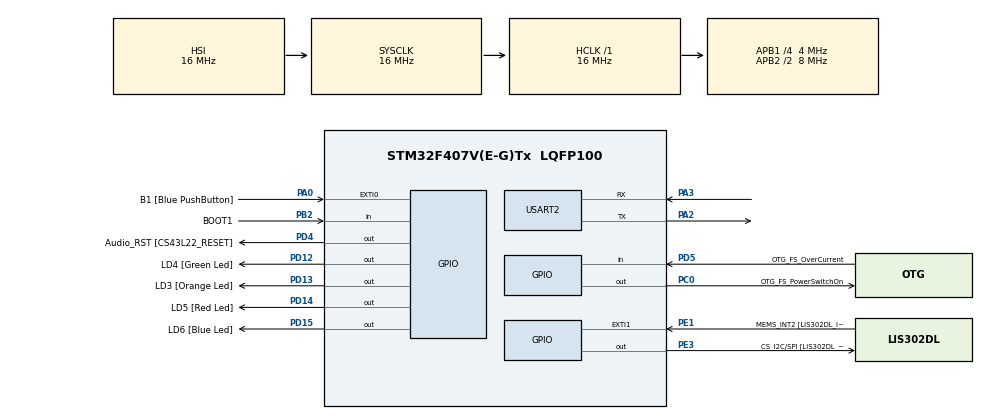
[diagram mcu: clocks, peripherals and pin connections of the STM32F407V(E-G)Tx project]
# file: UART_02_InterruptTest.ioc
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Mcu.Family=STM32F4
Mcu.Name=STM32F407V(E-G)Tx
Mcu.Package=LQFP100
NVIC.PriorityGroup=NVIC_PRIORITYGROUP_0
NVIC.USART2_IRQn=true\:0\:0\:false\:false\:true\:true\:true\:true
PA0-WKUP.GPIO_Label=B1 [Blue PushButton]
PA0-WKUP.Signal=GPXTI0
PA10.GPIO_Label=OTG_FS_ID
PA10.GPIO_Mode=GPIO_MODE_AF_PP
PA10.GPIO_PuPd=GPIO_NOPULL
PA10.GPIO_Speed=GPIO_SPEED_FREQ_LOW
PA10.Signal=USB_OTG_FS_ID
PA11.GPIO_Label=OTG_FS_DM
PA11.GPIO_Mode=GPIO_MODE_AF_PP
PA11.GPIO_PuPd=GPIO_NOPULL
PA11.GPIO_Speed=GPIO_SPEED_FREQ_LOW
PA11.Signal=USB_OTG_FS_DM
PA12.GPIO_Label=OTG_FS_DP
PA12.GPIO_Mode=GPIO_MODE_AF_PP
PA12.GPIO_PuPd=GPIO_NOPULL
PA12.GPIO_Speed=GPIO_SPEED_FREQ_LOW
PA12.Signal=USB_OTG_FS_DP
PA13.GPIO_Label=SWDIO
PA13.Signal=SYS_JTMS-SWDIO
PA14.GPIO_Label=SWCLK
PA14.Signal=SYS_JTCK-SWCLK
PA2.Mode=Asynchronous
PA2.Signal=USART2_TX
PA3.GPIO_PuPd=GPIO_PULLUP
PA3.Mode=Asynchronous
PA3.Signal=USART2_RX
PA4.GPIO_Label=I2S3_WS [CS43L22_LRCK]
PA4.GPIO_Mode=GPIO_MODE_AF_PP
PA4.GPIO_PuPd=GPIO_NOPULL
PA4.GPIO_Speed=GPIO_SPEED_FREQ_LOW
PA4.Signal=I2S3_WS
PA5.GPIO_Label=SPI1_SCK [LIS302DL_SCL/SPC]
PA5.GPIO_Mode=GPIO_MODE_AF_PP
PA5.GPIO_PuPd=GPIO_NOPULL
PA5.GPIO_Speed=GPIO_SPEED_FREQ_LOW
PA5.Signal=SPI1_SCK
PA6.GPIO_Label=SPI1_MISO [LIS302DL_SDO]
PA6.GPIO_Mode=GPIO_MODE_AF_PP
PA6.GPIO_PuPd=GPIO_NOPULL
PA6.GPIO_Speed=GPIO_SPEED_FREQ_LOW
PA6.Signal=SPI1_MISO
PA7.GPIO_Label=SPI1_MOSI [LIS302DL_SDA/SDI/SDO]
PA7.GPIO_Mode=GPIO_MODE_AF_PP
PA7.GPIO_PuPd=GPIO_NOPULL
PA7.GPIO_Speed=GPIO_SPEED_FREQ_LOW
PA7.Signal=SPI1_MOSI
PA9.GPIO_Label=VBUS_FS
PA9.GPIO_Mode=GPIO_MODE_INPUT
PA9.GPIO_PuPd=GPIO_NOPULL
PA9.Signal=USB_OTG_FS_VBUS
PB10.GPIO_Label=CLK_IN [MP45DT02_CLK]
PB10.GPIO_Mode=GPIO_MODE_AF_PP
PB10.GPIO_PuPd=GPIO_NOPULL
PB10.GPIO_Speed=GPIO_SPEED_FREQ_LOW
PB10.Signal=I2S2_CK
PB2.GPIO_Label=BOOT1
PB2.GPIO_Mode=GPIO_MODE_INPUT
PB2.GPIO_PuPd=GPIO_NOPULL
PB2.Signal=GPIO_Input
PB3.GPIO_Label=SWO
PB3.Signal=SYS_JTDO-SWO
PB6.GPIO_Label=Audio_SCL [CS43L22_SCL]
PB6.GPIO_Mode=GPIO_MODE_AF_OD
PB6.GPIO_PuPd=GPIO_NOPULL
PB6.GPIO_Speed=GPIO_SPEED_FREQ_LOW
PB6.Signal=I2C1_SCL
PB9.GPIO_Label=Audio_SDA [CS43L22_SDA]
PB9.GPIO_Mode=GPIO_MODE_AF_OD
PB9.GPIO_PuPd=GPIO_NOPULL
PB9.GPIO_Speed=GPIO_SPEED_FREQ_LOW
PB9.Signal=I2C1_SDA
PC0.GPIO_Label=OTG_FS_PowerSwitchOn
PC0.GPIO_PuPd=GPIO_NOPULL
PC0.GPIO_Speed=GPIO_SPEED_FREQ_LOW
PC0.PinState=GPIO_PIN_SET
PC0.Signal=GPIO_Output
PC10.GPIO_Label=I2S3_SCK [CS43L22_SCLK]
PC10.GPIO_Mode=GPIO_MODE_AF_PP
PC10.GPIO_PuPd=GPIO_NOPULL
PC10.GPIO_Speed=GPIO_SPEED_FREQ_LOW
PC10.Signal=I2S3_CK
PC12.GPIO_Label=I2S3_SD [CS43L22_SDIN]
PC12.GPIO_Mode=GPIO_MODE_AF_PP
PC12.GPIO_PuPd=GPIO_NOPULL
PC12.GPIO_Speed=GPIO_SPEED_FREQ_LOW
PC12.Signal=I2S3_SD
PC14-OSC32_IN.GPIO_Label=PC14-OSC32_IN
PC14-OSC32_IN.Signal=RCC_OSC32_IN
PC15-OSC32_OUT.GPIO_Label=PC15-OSC32_OUT
PC15-OSC32_OUT.Signal=RCC_OSC32_OUT
PC3.GPIO_Label=PDM_OUT [MP45DT02_DOUT]
PC3.GPIO_Mode=GPIO_MODE_AF_PP
PC3.GPIO_PuPd=GPIO_NOPULL
PC3.GPIO_Speed=GPIO_SPEED_FREQ_LOW
PC3.Signal=I2S2_SD
PC7.GPIO_Label=I2S3_MCK [CS43L22_MCLK]
PC7.GPIO_Mode=GPIO_MODE_AF_PP
PC7.GPIO_PuPd=GPIO_NOPULL
PC7.GPIO_Speed=GPIO_SPEED_FREQ_LOW
PC7.Signal=I2S3_MCK
PD12.GPIO_Label=LD4 [Green Led]
PD12.GPIO_PuPd=GPIO_NOPULL
PD12.GPIO_Speed=GPIO_SPEED_FREQ_LOW
PD12.Signal=GPIO_Output
PD13.GPIO_Label=LD3 [Orange Led]
PD13.GPIO_PuPd=GPIO_NOPULL
PD13.GPIO_Speed=GPIO_SPEED_FREQ_LOW
PD13.Signal=GPIO_Output
PD14.GPIO_Label=LD5 [Red Led]
PD14.GPIO_PuPd=GPIO_NOPULL
PD14.GPIO_Speed=GPIO_SPEED_FREQ_LOW
PD14.Signal=GPIO_Output
PD15.GPIO_Label=LD6 [Blue Led]
PD15.GPIO_PuPd=GPIO_NOPULL
PD15.GPIO_Speed=GPIO_SPEED_FREQ_LOW
PD15.Signal=GPIO_Output
PD4.GPIO_Label=Audio_RST [CS43L22_RESET]
PD4.GPIO_PuPd=GPIO_NOPULL
PD4.GPIO_Speed=GPIO_SPEED_FREQ_LOW
PD4.Signal=GPIO_Output
PD5.GPIO_Label=OTG_FS_OverCurrent
PD5.GPIO_Mode=GPIO_MODE_INPUT
PD5.GPIO_PuPd=GPIO_NOPULL
PD5.Signal=GPIO_Input
PE1.GPIO_Label=MEMS_INT2 [LIS302DL_INT2]
PE1.GPIO_ModeDefaultEXTI=GPIO_MODE_EVT_RISING
PE1.GPIO_PuPd=GPIO_NOPULL
PE1.Signal=GPXTI1
PE3.GPIO_Label=CS_I2C/SPI [LIS302DL_CS_I2C/SPI]
PE3.GPIO_PuPd=GPIO_NOPULL
PE3.GPIO_Speed=GPIO_SPEED_FREQ_LOW
PE3.Signal=GPIO_Output
PH0-OSC_IN.GPIO_Label=PH0-OSC_IN
PH0-OSC_IN.Signal=RCC_OSC_IN
PH1-OSC_OUT.GPIO_Label=PH1-OSC_OUT
PH1-OSC_OUT.Signal=RCC_OSC_OUT
ProjectManager.HeapSize=0x200
ProjectManager.StackSize=0x400
ProjectManager.TargetToolchain=STM32CubeIDE
RCC.48MHZClocksFreq_Value=14285714.285714285
RCC.AHBFreq_Value=16000000
RCC.APB1CLKDivider=RCC_HCLK_DIV4
RCC.APB1Freq_Value=4000000
RCC.APB1TimFreq_Value=8000000
RCC.APB2CLKDivider=RCC_HCLK_DIV2
RCC.APB2Freq_Value=8000000
RCC.APB2TimFreq_Value=16000000
RCC.CortexFreq_Value=16000000
RCC.HCLKFreq_Value=16000000
RCC.HSE_VALUE=8000000
RCC.HSI_VALUE=16000000
RCC.LSE_VALUE=32768
RCC.PLLM=8
RCC.PLLN=50
RCC.PLLP=RCC_PLLP_DIV4
RCC.PLLQ=7
RCC.SYSCLKFreq_VALUE=16000000
RCC.VCOOutputFreq_Value=100000000
USART2.VirtualMode=VM_ASYNC
board=STM32F407G-DISC1

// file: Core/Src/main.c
/* USER CODE BEGIN Header */
/**
  ******************************************************************************
  * @file           : main.c
  * @brief          : Main program body
  ******************************************************************************
  * @attention
  *
  * Copyright (c) 2026 STMicroelectronics.
  * All rights reserved.
  *
  * This software is licensed under terms that can be found in the LICENSE file
  * in the root directory of this software component.
  * If no LICENSE file comes with this software, it is provided AS-IS.
  *
  ******************************************************************************
  */
/* USER CODE END Header */
#include "main.h"

/* USER CODE BEGIN Includes */
#include <stdio.h>
#include <string.h>
//PA2 is USART2TX and PA3 is USART2RX
/* USER CODE END Includes */

/* USER CODE BEGIN PD */
#define FIRST_RCV_MSGLEN	21
#define SCND_RCV_MSGLEN		17
/* USER CODE END PD */

UART_HandleTypeDef huart2;

/* USER CODE BEGIN PV */
uint8_t RcvComplete = RESET;
uint8_t TxComplete = RESET;

uint8_t RcvBuf[50];
uint8_t RcvBuf2[50];

uint8_t sendmsg1[] = "Hello old man Tayyar";
uint8_t sendmsg2[] = "Bist du fertig?";
/* USER CODE END PV */

void SystemClock_Config(void);
static void MX_GPIO_Init(void);
static void MX_USART2_UART_Init(void);

int main(void)
{

  /* MCU Configuration--------------------------------------------------------*/

  /* Reset of all peripherals, Initializes the Flash interface and the Systick. */
  HAL_Init();

  /* Configure the system clock */
  SystemClock_Config();

  /* Initialize all configured peripherals */
  MX_GPIO_Init();
  MX_USART2_UART_Init();

  /* Infinite loop */
  /* USER CODE BEGIN WHILE */
  while (1)
  {
	  UART_Start_Receive_IT(&huart2, RcvBuf, FIRST_RCV_MSGLEN);
	  while(!RcvComplete);
	  RcvBuf[FIRST_RCV_MSGLEN] = '\0';
	  printf("First Message Received : %s \n",RcvBuf);
	  RcvComplete = RESET;

	  HAL_UART_Transmit_IT(&huart2, sendmsg1, strlen((char*)sendmsg1));
	  while(!TxComplete);
	  TxComplete = RESET;

	  HAL_UART_Receive_IT(&huart2, RcvBuf2, SCND_RCV_MSGLEN);
	  while(huart2.RxXferCount == SCND_RCV_MSGLEN);//Wait until receive starts and count drops, then we start the transmit
	  HAL_UART_Transmit_IT(&huart2, sendmsg2, strlen((char*)sendmsg2));

	  while(!RcvComplete);
	  RcvBuf2[SCND_RCV_MSGLEN] = '\0';
	  printf("Old Man Tayyar Said: %s \n",RcvBuf2);
	  break;
    /* USER CODE END WHILE */

  }
}

void SystemClock_Config(void)
{
  RCC_OscInitTypeDef RCC_OscInitStruct = {0};
  RCC_ClkInitTypeDef RCC_ClkInitStruct = {0};

  /** Configure the main internal regulator output voltage
  */
  __HAL_RCC_PWR_CLK_ENABLE();
  __HAL_PWR_VOLTAGESCALING_CONFIG(PWR_REGULATOR_VOLTAGE_SCALE1);

  /** Initializes the RCC Oscillators according to the specified parameters
  * in the RCC_OscInitTypeDef structure.
  */
  RCC_OscInitStruct.OscillatorType = RCC_OSCILLATORTYPE_HSI;
  RCC_OscInitStruct.HSIState = RCC_HSI_ON;
  RCC_OscInitStruct.HSICalibrationValue = RCC_HSICALIBRATION_DEFAULT;
  RCC_OscInitStruct.PLL.PLLState = RCC_PLL_NONE;
  if (HAL_RCC_OscConfig(&RCC_OscInitStruct) != HAL_OK)
  {
    Error_Handler();
  }

  /** Initializes the CPU, AHB and APB buses clocks
  */
  RCC_ClkInitStruct.ClockType = RCC_CLOCKTYPE_HCLK|RCC_CLOCKTYPE_SYSCLK
                              |RCC_CLOCKTYPE_PCLK1|RCC_CLOCKTYPE_PCLK2;
  RCC_ClkInitStruct.SYSCLKSource = RCC_SYSCLKSOURCE_HSI;
  RCC_ClkInitStruct.AHBCLKDivider = RCC_SYSCLK_DIV1;
  RCC_ClkInitStruct.APB1CLKDivider = RCC_HCLK_DIV4;
  RCC_ClkInitStruct.APB2CLKDivider = RCC_HCLK_DIV2;

  if (HAL_RCC_ClockConfig(&RCC_ClkInitStruct, FLASH_LATENCY_0) != HAL_OK)
  {
    Error_Handler();
  }
}

static void MX_USART2_UART_Init(void)
{

  huart2.Instance = USART2;
  huart2.Init.BaudRate = 115200;
  huart2.Init.WordLength = UART_WORDLENGTH_8B;
  huart2.Init.StopBits = UART_STOPBITS_1;
  huart2.Init.Parity = UART_PARITY_NONE;
  huart2.Init.Mode = UART_MODE_TX_RX;
  huart2.Init.HwFlowCtl = UART_HWCONTROL_NONE;
  huart2.Init.OverSampling = UART_OVERSAMPLING_16;
  if (HAL_UART_Init(&huart2) != HAL_OK)
  {
    Error_Handler();
  }

}

static void MX_GPIO_Init(void)
{
  GPIO_InitTypeDef GPIO_InitStruct = {0};

  /* GPIO Ports Clock Enable */
  __HAL_RCC_GPIOE_CLK_ENABLE();
  __HAL_RCC_GPIOC_CLK_ENABLE();
  __HAL_RCC_GPIOH_CLK_ENABLE();
  __HAL_RCC_GPIOA_CLK_ENABLE();
  __HAL_RCC_GPIOB_CLK_ENABLE();
  __HAL_RCC_GPIOD_CLK_ENABLE();

  /*Configure GPIO pin Output Level */
  HAL_GPIO_WritePin(CS_I2C_SPI_GPIO_Port, CS_I2C_SPI_Pin, GPIO_PIN_RESET);

  /*Configure GPIO pin Output Level */
  HAL_GPIO_WritePin(OTG_FS_PowerSwitchOn_GPIO_Port, OTG_FS_PowerSwitchOn_Pin, GPIO_PIN_SET);

  /*Configure GPIO pin Output Level */
  HAL_GPIO_WritePin(GPIOD, LD4_Pin|LD3_Pin|LD5_Pin|LD6_Pin
                          |Audio_RST_Pin, GPIO_PIN_RESET);

  /*Configure GPIO pin : CS_I2C_SPI_Pin */
  GPIO_InitStruct.Pin = CS_I2C_SPI_Pin;
  GPIO_InitStruct.Mode = GPIO_MODE_OUTPUT_PP;
  GPIO_InitStruct.Pull = GPIO_NOPULL;
  GPIO_InitStruct.Speed = GPIO_SPEED_FREQ_LOW;
  HAL_GPIO_Init(CS_I2C_SPI_GPIO_Port, &GPIO_InitStruct);

  /*Configure GPIO pin : OTG_FS_PowerSwitchOn_Pin */
  GPIO_InitStruct.Pin = OTG_FS_PowerSwitchOn_Pin;
  GPIO_InitStruct.Mode = GPIO_MODE_OUTPUT_PP;
  GPIO_InitStruct.Pull = GPIO_NOPULL;
  GPIO_InitStruct.Speed = GPIO_SPEED_FREQ_LOW;
  HAL_GPIO_Init(OTG_FS_PowerSwitchOn_GPIO_Port, &GPIO_InitStruct);

  /*Configure GPIO pin : PDM_OUT_Pin */
  GPIO_InitStruct.Pin = PDM_OUT_Pin;
  GPIO_InitStruct.Mode = GPIO_MODE_AF_PP;
  GPIO_InitStruct.Pull = GPIO_NOPULL;
  GPIO_InitStruct.Speed = GPIO_SPEED_FREQ_LOW;
  GPIO_InitStruct.Alternate = GPIO_AF5_SPI2;
  HAL_GPIO_Init(PDM_OUT_GPIO_Port, &GPIO_InitStruct);

  /*Configure GPIO pin : B1_Pin */
  GPIO_InitStruct.Pin = B1_Pin;
  GPIO_InitStruct.Mode = GPIO_MODE_IT_RISING;
  GPIO_InitStruct.Pull = GPIO_NOPULL;
  HAL_GPIO_Init(B1_GPIO_Port, &GPIO_InitStruct);

  /*Configure GPIO pin : I2S3_WS_Pin */
  GPIO_InitStruct.Pin = I2S3_WS_Pin;
  GPIO_InitStruct.Mode = GPIO_MODE_AF_PP;
  GPIO_InitStruct.Pull = GPIO_NOPULL;
  GPIO_InitStruct.Speed = GPIO_SPEED_FREQ_LOW;
  GPIO_InitStruct.Alternate = GPIO_AF6_SPI3;
  HAL_GPIO_Init(I2S3_WS_GPIO_Port, &GPIO_InitStruct);

  /*Configure GPIO pins : SPI1_SCK_Pin SPI1_MISO_Pin SPI1_MOSI_Pin */
  GPIO_InitStruct.Pin = SPI1_SCK_Pin|SPI1_MISO_Pin|SPI1_MOSI_Pin;
  GPIO_InitStruct.Mode = GPIO_MODE_AF_PP;
  GPIO_InitStruct.Pull = GPIO_NOPULL;
  GPIO_InitStruct.Speed = GPIO_SPEED_FREQ_LOW;
  GPIO_InitStruct.Alternate = GPIO_AF5_SPI1;
  HAL_GPIO_Init(GPIOA, &GPIO_InitStruct);

  /*Configure GPIO pin : BOOT1_Pin */
  GPIO_InitStruct.Pin = BOOT1_Pin;
  GPIO_InitStruct.Mode = GPIO_MODE_INPUT;
  GPIO_InitStruct.Pull = GPIO_NOPULL;
  HAL_GPIO_Init(BOOT1_GPIO_Port, &GPIO_InitStruct);

  /*Configure GPIO pin : CLK_IN_Pin */
  GPIO_InitStruct.Pin = CLK_IN_Pin;
  GPIO_InitStruct.Mode = GPIO_MODE_AF_PP;
  GPIO_InitStruct.Pull = GPIO_NOPULL;
  GPIO_InitStruct.Speed = GPIO_SPEED_FREQ_LOW;
  GPIO_InitStruct.Alternate = GPIO_AF5_SPI2;
  HAL_GPIO_Init(CLK_IN_GPIO_Port, &GPIO_InitStruct);

  /*Configure GPIO pins : LD4_Pin LD3_Pin LD5_Pin LD6_Pin
                           Audio_RST_Pin */
  GPIO_InitStruct.Pin = LD4_Pin|LD3_Pin|LD5_Pin|LD6_Pin
                          |Audio_RST_Pin;
  GPIO_InitStruct.Mode = GPIO_MODE_OUTPUT_PP;
  GPIO_InitStruct.Pull = GPIO_NOPULL;
  GPIO_InitStruct.Speed = GPIO_SPEED_FREQ_LOW;
  HAL_GPIO_Init(GPIOD, &GPIO_InitStruct);

  /*Configure GPIO pins : I2S3_MCK_Pin I2S3_SCK_Pin I2S3_SD_Pin */
  GPIO_InitStruct.Pin = I2S3_MCK_Pin|I2S3_SCK_Pin|I2S3_SD_Pin;
  GPIO_InitStruct.Mode = GPIO_MODE_AF_PP;
  GPIO_InitStruct.Pull = GPIO_NOPULL;
  GPIO_InitStruct.Speed = GPIO_SPEED_FREQ_LOW;
  GPIO_InitStruct.Alternate = GPIO_AF6_SPI3;
  HAL_GPIO_Init(GPIOC, &GPIO_InitStruct);

  /*Configure GPIO pin : VBUS_FS_Pin */
  GPIO_InitStruct.Pin = VBUS_FS_Pin;
  GPIO_InitStruct.Mode = GPIO_MODE_INPUT;
  GPIO_InitStruct.Pull = GPIO_NOPULL;
  HAL_GPIO_Init(VBUS_FS_GPIO_Port, &GPIO_InitStruct);

  /*Configure GPIO pins : OTG_FS_ID_Pin OTG_FS_DM_Pin OTG_FS_DP_Pin */
  GPIO_InitStruct.Pin = OTG_FS_ID_Pin|OTG_FS_DM_Pin|OTG_FS_DP_Pin;
  GPIO_InitStruct.Mode = GPIO_MODE_AF_PP;
  GPIO_InitStruct.Pull = GPIO_NOPULL;
  GPIO_InitStruct.Speed = GPIO_SPEED_FREQ_LOW;
  GPIO_InitStruct.Alternate = GPIO_AF10_OTG_FS;
  HAL_GPIO_Init(GPIOA, &GPIO_InitStruct);

  /*Configure GPIO pin : OTG_FS_OverCurrent_Pin */
  GPIO_InitStruct.Pin = OTG_FS_OverCurrent_Pin;
  GPIO_InitStruct.Mode = GPIO_MODE_INPUT;
  GPIO_InitStruct.Pull = GPIO_NOPULL;
  HAL_GPIO_Init(OTG_FS_OverCurrent_GPIO_Port, &GPIO_InitStruct);

  /*Configure GPIO pins : Audio_SCL_Pin Audio_SDA_Pin */
  GPIO_InitStruct.Pin = Audio_SCL_Pin|Audio_SDA_Pin;
  GPIO_InitStruct.Mode = GPIO_MODE_AF_OD;
  GPIO_InitStruct.Pull = GPIO_NOPULL;
  GPIO_InitStruct.Speed = GPIO_SPEED_FREQ_LOW;
  GPIO_InitStruct.Alternate = GPIO_AF4_I2C1;
  HAL_GPIO_Init(GPIOB, &GPIO_InitStruct);

  /*Configure GPIO pin : MEMS_INT2_Pin */
  GPIO_InitStruct.Pin = MEMS_INT2_Pin;
  GPIO_InitStruct.Mode = GPIO_MODE_EVT_RISING;
  GPIO_InitStruct.Pull = GPIO_NOPULL;
  HAL_GPIO_Init(MEMS_INT2_GPIO_Port, &GPIO_InitStruct);

}

/* USER CODE BEGIN 4 */
void HAL_UART_RxCpltCallback(UART_HandleTypeDef *huart)
{
	RcvComplete = SET;
}

void HAL_UART_TxCpltCallback(UART_HandleTypeDef *huart)
{

	TxComplete = SET;
}
/* USER CODE END 4 */

void Error_Handler(void)
{
  __disable_irq();
  while (1)
  {
  }
}
